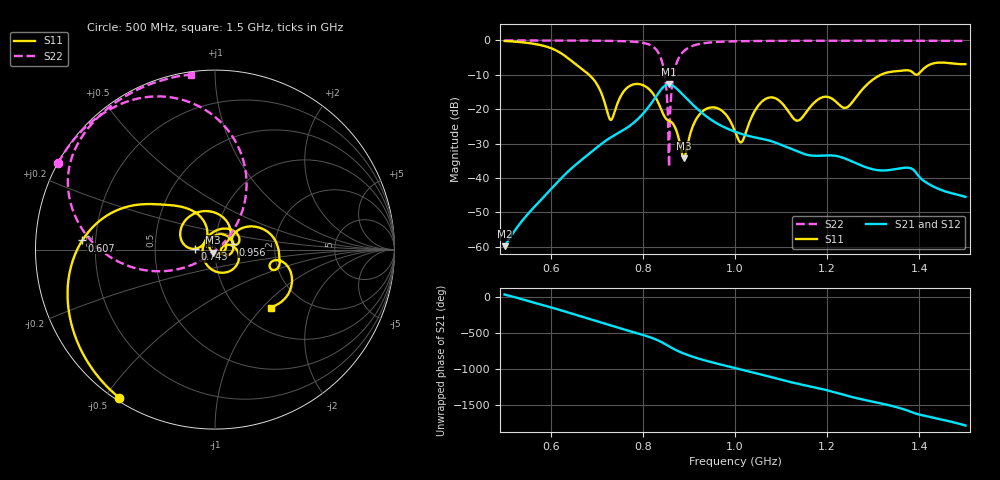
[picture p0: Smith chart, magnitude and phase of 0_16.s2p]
! TOUCHSTONE file generated by CST MICROWAVE STUDIO
! Date and time: Mon Sep 28 14:08:35 2020
! Project name: Scenario_1_Free_SPace.cst
! Parameters = {dx1=433; L_HA=400; MT=2.54; Rad_Dielectric=30; Rad_Lower=7.3; Rad_Upper=30; a_HA=580; a_WG=246; b_HA=500; b_WG=121; c_HA=0; c_WG=187; d_feed=85; h_feed=15; h_lower=18; h_upper=40}
! Header version: 2018
! Port assignment regex: !\s*Touchstone port\s*([0-9]+)\s*=\s*(CST MWS port|CST DS port)\s*([0-9]+|Zmin|Zmax)\s*\(\"(.*)\"\)(\s*mode\s*([0-9]+))?.*
! Touchstone port assignment:
! Touchstone port 1 = CST MWS port 1 ("")
! Touchstone port 2 = CST MWS port 2 ("")
# GHz S DB R 50
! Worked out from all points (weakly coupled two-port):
!   1003 points, 500 MHz to 1.5 GHz, reference 50 ohm
!   highest |S21| = -12.77 dB at 856 MHz (marker M1); lowest = -59.8 dB at 500 MHz (marker M2)
!   lowest |S11| = -34.3 dB at 889 MHz (marker M3), VSWR 1.04, Z = 48.9 - j1.58 ohm
!   |S11| at or under -10 dB: 683.4 MHz to 1.316 GHz (632.9 MHz wide, 63.3 % of centre)
!   |S22| runs from -36.8 to 0.0 dB; largest |S21 - S12| = 7.4e-05
!   S11 on the Smith chart (normalised r, x): 500 MHz: 0.01, -0.55; 607 MHz: 0.15, +0.03; 743 MHz: 0.80, +0.01; 956 MHz: 1.22, +0.07; 1.5 GHz: 1.37, -1.13
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0.5  -0.15 -122.8  -59.84 32.9  -59.84 32.9  -0.01 151.1
0.607  -2.60 176.0  -42.34 -156.9  -42.34 -156.9  -0.02 143.5
0.667  -8.25 139.6  -34.73 87.7  -34.73 87.7  -0.04 138.3
0.702  -13.10 116.4  -30.92 19.9  -30.92 19.9  -0.08 134.5
0.729  -23.01 139.2  -28.32 -34.5  -28.32 -34.5  -0.13 130.9
0.743  -19.05 177.7  -27.21 -62.2  -27.21 -62.2  -0.17 128.7
0.785  -12.67 132.2  -23.38 -139.2  -23.38 -139.2  -0.43 118.7
0.834  -18.27 44.8  -15.27 113.6  -15.27 113.6  -3.63 82.9
0.846  -21.90 33.2  -13.37 74.2  -13.37 74.2  -8.79 61.4
0.856  -23.29 27.9  -12.77 37.4  -12.77 37.4  -32.79 25.0
0.868  -24.78 1.7  -13.42 -5.0  -13.42 -5.0  -9.11 -159.9
0.889  -34.25 -123.3  -16.07 -65.5  -16.07 -65.5  -3.10 175.3
0.918  -22.43 93.4  -19.88 -129.9  -19.88 -129.9  -1.17 158.9
0.956  -19.50 15.7  -23.75 162.8  -23.75 162.8  -0.48 147.7
1  -26.44 -32.6  -26.55 93.0  -26.55 92.9  -0.25 140.1
1.015  -29.49 1.6  -27.23 69.7  -27.24 69.7  -0.22 138.2
1.071  -16.73 -27.0  -29.00 -20.5  -29.00 -20.6  -0.15 132.2
1.134  -23.31 174.1  -32.18 -121.8  -32.18 -121.7  -0.10 126.7
1.167  -18.77 78.2  -33.50 -166.6  -33.50 -166.6  -0.09 124.1
1.242  -19.53 26.7  -34.52 71.2  -34.52 71.2  -0.09 118.3
1.334  -9.23 5.5  -37.70 -62.2  -37.70 -62.2  -0.09 111.3
1.5  -6.89 -46.4  -45.52 17.0  -45.57 17.1  -0.15 97.7
